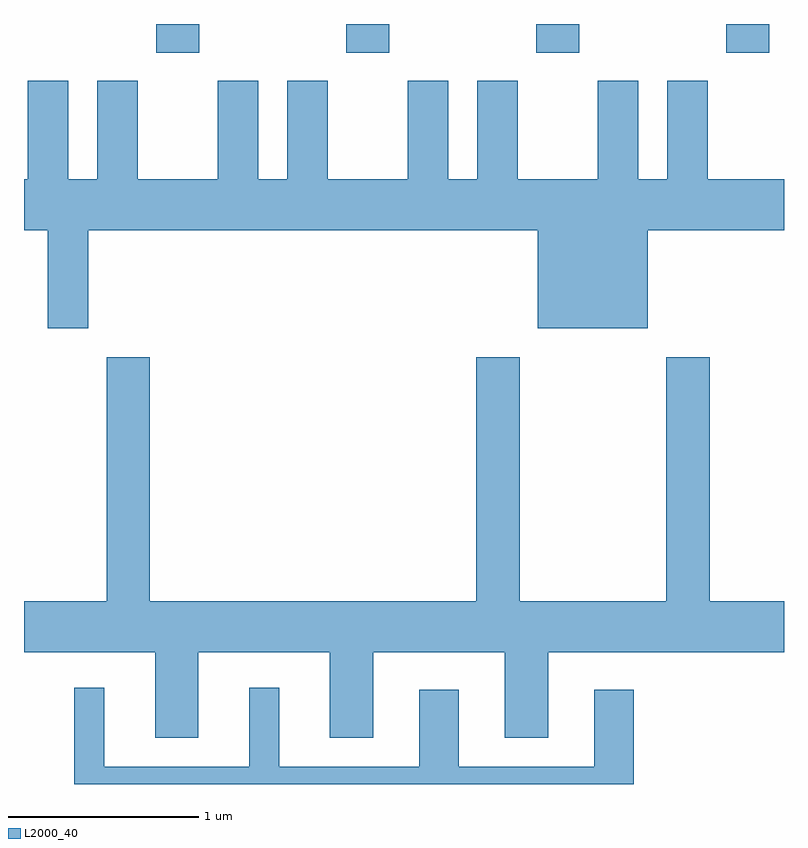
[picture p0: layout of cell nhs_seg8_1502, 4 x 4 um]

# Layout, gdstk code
import gdstk
lib = gdstk.Library(unit=1e-6, precision=1e-09)
def R(c, l, rs):  # rectangles x0, y0, x1, y1
    for r in rs: c.add(gdstk.rectangle(r[:2], r[2:], *l))
def A(c, l, x, y, w, h, nx, ny, dx, dy):  # array of equal rectangles
    R(c, l, [(x+i*dx, y+j*dy, x+i*dx+w, y+j*dy+h) for i in range(nx) for j in range(ny)])
def P(c, l, *ps):  # polygons
    for p in ps: c.add(gdstk.Polygon(p, *l))
L2000_40 = (2000, 40)

nhs_seg8_1502 = lib.new_cell('nhs_seg8_1502')
A(nhs_seg8_1502, L2000_40, 230.306, 1886.191, 0.228, 0.151, 4, 1, 1, 0)
P(nhs_seg8_1502, L2000_40, [(229.631,1885.524),(229.611,1885.524),(229.611,1885.256),(229.736,1885.256),(229.736,1884.741),(229.949,1884.741),(229.949,1885.256),(232.316,1885.256),(232.316,1884.741),(232.894,1884.741),(232.894,1885.256),(233.611,1885.256),(233.611,1885.524),(233.209,1885.524),(233.209,1886.044),(232.996,1886.044),(232.996,1885.524),(232.844,1885.524),(232.844,1886.044),(232.631,1886.044),(232.631,1885.524),(232.209,1885.524),(232.209,1886.044),(231.996,1886.044),(231.996,1885.524),(231.844,1885.524),(231.844,1886.044),(231.631,1886.044),(231.631,1885.524),(231.209,1885.524),(231.209,1886.044),(230.996,1886.044),(230.996,1885.524),(230.844,1885.524),(230.844,1886.044),(230.631,1886.044),(230.631,1885.524),(230.209,1885.524),(230.209,1886.044),(229.996,1886.044),(229.996,1885.524),(229.844,1885.524),(229.844,1886.044),(229.631,1886.044)],
  [(230.301,1882.586),(230.529,1882.586),(230.529,1883.036),(231.221,1883.036),(231.221,1882.586),(231.449,1882.586),(231.449,1883.036),(232.141,1883.036),(232.141,1882.586),(232.369,1882.586),(232.369,1883.036),(233.611,1883.036),(233.611,1883.304),(233.219,1883.304),(233.219,1884.589),(232.991,1884.589),(232.991,1883.304),(232.219,1883.304),(232.219,1884.589),(231.991,1884.589),(231.991,1883.304),(230.274,1883.304),(230.274,1884.589),(230.046,1884.589),(230.046,1883.304),(229.611,1883.304),(229.611,1883.036),(230.301,1883.036)],
  [(232.819,1882.839),(232.611,1882.839),(232.611,1882.434),(231.899,1882.434),(231.899,1882.839),(231.691,1882.839),(231.691,1882.434),(230.954,1882.434),(230.954,1882.848),(230.796,1882.848),(230.796,1882.434),(230.034,1882.434),(230.034,1882.848),(229.876,1882.848),(229.876,1882.342),(232.819,1882.342)])

lib.write_gds('nhs_seg8_1502.gds')
